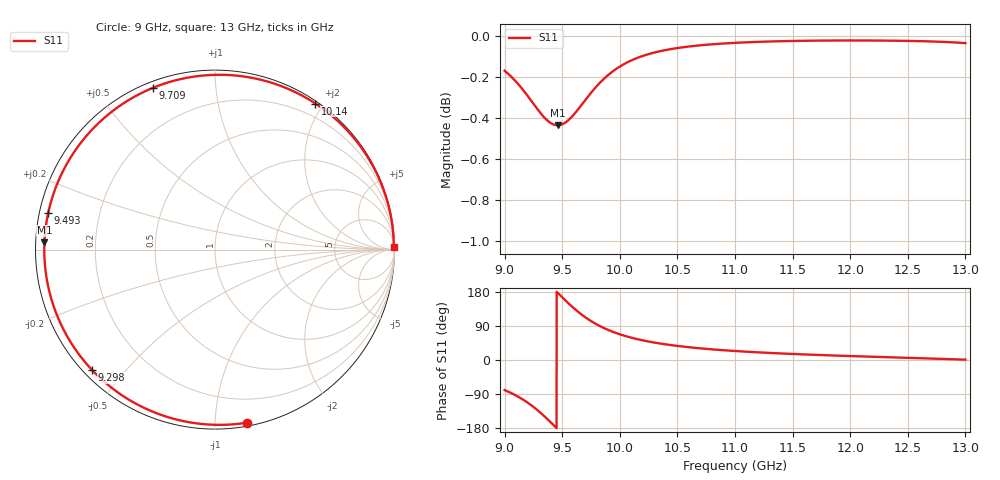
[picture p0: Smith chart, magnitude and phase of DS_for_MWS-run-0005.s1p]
! TOUCHSTONE file generated by CST DESIGN STUDIO
! Date and time: Tue Feb  4 13:17:40 2025
! Project name: C:\Work\MatlabApps\UnitCellOptimizationMatlab\CST\unitcell.cst
! Tree item: Tasks\Sweep1\SPara1\S-Parameters
! Header version: 2024
! Port assignment regex: !\s*Touchstone port\s*([0-9]+)\s*=\s*(CST MWS port|CST DES external port|CST DES block port)\s*(.+)\s* \(\"(.*)\"\)(\s*mode\s*([0-9]+))?.*
! Touchstone port assignment:
! Touchstone port 1 = CST DES external port 1 ("")
# GHz S MA R 50
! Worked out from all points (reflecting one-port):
!   4001 points, 9 GHz to 13 GHz, reference 50 ohm
!   lowest |S11| = -0.4 dB at 9.46 GHz (marker M1), VSWR 39.91, Z = 1.25 + j1.08 ohm
!   phase of S11 starts at -79 deg and turns -280 deg over the sweep
!   S11 on the Smith chart (normalised r, x): 9 GHz: 0.02, -1.20; 9.298 GHz: 0.02, -0.41; 9.493 GHz: 0.03, +0.11; 9.709 GHz: 0.03, +0.69; 10.14 GHz: 0.03, +1.90; 13 GHz: open
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9  0.9806 -79.4
9.073  0.9763 -89.6
9.168  0.9695 -106.0
9.235  0.9639 -120.2
9.298  0.9587 -135.6
9.34  0.9556 -146.9
9.385  0.953 -159.9
9.423  0.9516 -171.2
9.46  0.9511 177.5
9.493  0.9515 167.5
9.5  0.9516 165.4
9.549  0.9536 151.0
9.606  0.9572 135.4
9.656  0.9611 122.9
9.709  0.9653 111.0
9.765  0.9697 100.0
9.829  0.9741 89.3
9.912  0.9789 77.7
10  0.9829 67.8
10.145  0.9875 55.5
10.305  0.9907 45.7
10.5  0.9931 37.1
10.722  0.9948 30.1
11  0.996 23.7
11.5  0.9971 15.9
12  0.9973 10.4
12.5  0.9971 5.8
13  0.9959 1.0
